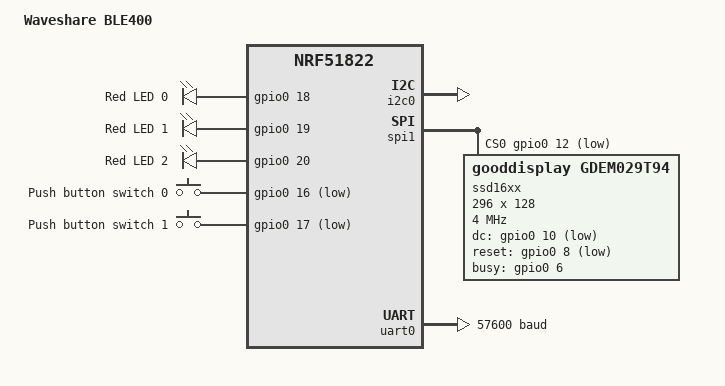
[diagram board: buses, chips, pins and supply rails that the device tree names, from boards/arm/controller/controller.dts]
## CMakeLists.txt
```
set(BOARD_ROOT ${CMAKE_CURRENT_SOURCE_DIR})
set(CMAKE_EXPORT_COMPILE_COMMANDS ON)

# ===== DO NOT REMOVE =====
cmake_minimum_required(VERSION 3.13.1)
find_package(Zephyr REQUIRED HINTS $ENV{ZEPHYR_BASE})
# ===== DO NOT REMOVE =====

project(controller-fw)

target_sources(app PRIVATE
	src/main.cpp
	src/uart.cpp
	src/bt.c
	src/display.cpp
	src/font.c
)
```

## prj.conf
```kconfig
CONFIG_DISPLAY=y

CONFIG_MULTITHREADING=y
CONFIG_UART_INTERRUPT_DRIVEN=y
CONFIG_UART_0_INTERRUPT_DRIVEN=y
CONFIG_CPLUSPLUS=y

CONFIG_BT=y
CONFIG_BT_CENTRAL=y
CONFIG_BT_GATT_CLIENT=y

CONFIG_MODBUS=y
CONFIG_MODBUS_ROLE_CLIENT=y
CONFIG_MODBUS_FP_EXTENSIONS=n

CONFIG_DEBUG_THREAD_INFO=y
CONFIG_EXTRA_EXCEPTION_INFO=y
```

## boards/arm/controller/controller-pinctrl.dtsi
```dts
/*
 * Copyright (c) 2022 Nordic Semiconductor
 * SPDX-License-Identifier: Apache-2.0
 */

&pinctrl {
	i2c0_default: i2c0_default {
		group1 {
			psels = <NRF_PSEL(TWIM_SDA, 0, 0)>,
				<NRF_PSEL(TWIM_SCL, 0, 1)>;
		};
	};

	i2c0_sleep: i2c0_sleep {
		group1 {
			psels = <NRF_PSEL(TWIM_SDA, 0, 0)>,
				<NRF_PSEL(TWIM_SCL, 0, 1)>;
			low-power-enable;
		};
	};

	spi1_default: spi1_default {
		group1 {
			psels = <NRF_PSEL(SPIM_SCK, 0, 14)>,
				<NRF_PSEL(SPIM_MOSI, 0, 16)>;
		};
	};

	spi1_sleep: spi1_sleep {
		group1 {
			psels = <NRF_PSEL(SPIM_SCK, 0, 14)>,
				<NRF_PSEL(SPIM_MOSI, 0, 16)>;
			low-power-enable;
		};
	};

	uart0_default: uart0_default {
		group1 {
			psels = <NRF_PSEL(UART_TX, 0, 21)>,
				<NRF_PSEL(UART_RX, 0, 22)>;
		};
	};

	uart0_sleep: uart0_sleep {
		group1 {
			psels = <NRF_PSEL(UART_TX, 0, 21)>,
				<NRF_PSEL(UART_RX, 0, 22)>;
			low-power-enable;
		};
	};

};
```

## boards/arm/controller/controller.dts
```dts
/*
 * Copyright (c) 2018 Roman Tataurov <diytronic@yandex.ru>
 *
 * SPDX-License-Identifier: Apache-2.0
 */

/dts-v1/;
#include <nordic/nrf51822_qfac.dtsi>
#include "controller-pinctrl.dtsi"

/ {
	model = "Waveshare BLE400";
	compatible = "waveshare,BLE400";

	chosen {
		zephyr,sram = &sram0;
		zephyr,flash = &flash0;
		zephyr,display = &ssd16xx;
	};

	/* These aliases are provided for compatibility with samples */
	aliases {
		led0 = &led0;
		led1 = &led1;
		led2 = &led2;
		sw0 = &button0;
		sw1 = &button1;
		watchdog0 = &wdt0;
	};

	leds {
		compatible = "gpio-leds";
		led0: led_0 {
			gpios = <&gpio0 18 0>;
			label = "Red LED 0";
		};
		led1: led_1 {
			gpios = <&gpio0 19 0>;
			label = "Red LED 1";
		};
		led2: led_2 {
			gpios = <&gpio0 20 0>;
			label = "Red LED 2";
		};
	};

	buttons {
		/* Push button switch 0 KEY1 */
		compatible = "gpio-keys";
		button0: button_0 {
			gpios = <&gpio0 16 (GPIO_PULL_UP | GPIO_ACTIVE_LOW)>;
			label = "Push button switch 0";
		};
		/* Push button switch 1 KEY2 */
		button1: button_1 {
			gpios = <&gpio0 17 (GPIO_PULL_UP | GPIO_ACTIVE_LOW)>;
			label = "Push button switch 1";
		};
	};
	barrot {
		compatible = "barrot_serial";
		btaddr = [82 72 95 83 15 00];

		modbus0 {
			compatible = "zephyr,modbus-serial";
			status = "okay";
	};

	};
};

&gpiote {
	status = "okay";
};

&gpio0 {
	status = "okay";
};

&i2c0 {
	status = "okay";
	/* smba-pin = <2>; */
	pinctrl-0 = <&i2c0_default>;
	pinctrl-1 = <&i2c0_sleep>;
	pinctrl-names = "default", "sleep";
};

&spi1 {
	compatible = "nordic,nrf-spi";
	status = "okay";
	cs-gpios = <&gpio0 12 GPIO_ACTIVE_LOW>;
	pinctrl-0 = <&spi1_default>;
	pinctrl-1 = <&spi1_sleep>;
	pinctrl-names = "default", "sleep";
	
	ssd16xx: ssd16xxfb@0 {
		compatible = "gooddisplay,GDEM029T94", "solomon,ssd1680";
		spi-max-frequency = <4000000>;
		reg = <0>;
		width = <296>;
		height = <128>;
		dc-gpios = <&gpio0 10 GPIO_ACTIVE_LOW>;
		reset-gpios = <&gpio0 8 GPIO_ACTIVE_LOW>;
		busy-gpios = <&gpio0 6 GPIO_ACTIVE_HIGH>;
		
		cntrl1-data = [00 80];
		otp-selection-ctl = [00 00 00 00 00 40 00 00 00 00];
		
		full {
			vcom = <0x36>;
			border-waveform = <0x80>;
			gdv = [17];
			sdv = [41 B0 32];
			lut = [
				80 66 00 00 00 00 00 00
				40 00 00 00 10 66 00 00
				00 00 00 00 20 00 00 00
				80 66 00 00 00 00 00 00
				40 00 00 00 10 66 00 00
				00 00 00 00 20 00 00 00
				00 00 00 00 00 00 00 00
				00 00 00 00 14 08 00 00
				00 00 01 0a 0a 00 0a 0a
				00 01 00 00 00 00 00 00
				00 00 00 00 00 00 00 00
				00 00 00 00 00 00 00 00
				00 00 00 00 00 00 00 00
				00 00 00 00 00 00 00 00
				00 00 00 00 14 08 00 01
				00 00 01 00 00 00 00 00
				00 01 00 00 00 00 00 00
				00 00 00 00 00 00 00 00
				44 44 44 44 44 44 00 00
				00
			];
		};
		
		partial {
			vcom = <0x36>;
			border-waveform = <0x80>;
			gdv = [17];
			sdv = [41 B0 32];

			lut = [
				00 40 00 00 00 00 00 00
				00 00 00 00 80 80 00 00
				00 00 00 00 00 00 00 00
				40 40 00 00 00 00 00 00
				00 00 00 00 00 80 00 00
				00 00 00 00 00 00 00 00
				00 00 00 00 00 00 00 00
				00 00 00 00 0a 00 00 00
				00 00 01 01 00 00 00 00
				00 00 01 00 00 00 00 00
				00 00 00 00 00 00 00 00
				00 00 00 00 00 00 00 00
				00 00 00 00 00 00 00 00
				00 00 00 00 00 00 00 00
				00 00 00 00 00 00 00 00
				00 00 00 00 00 00 00 00
				00 00 00 00 00 00 00 00
				00 00 00 00 00 00 00 00
				22 22 22 22 22 22 00 00
				00
			];
		};
		
	};
};

&uart0 {
	current-speed = <57600>;
	status = "okay";
	pinctrl-0 = <&uart0_default>;
	pinctrl-1 = <&uart0_sleep>;
	pinctrl-names = "default", "sleep";
};
```

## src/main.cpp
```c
#include <zephyr/zephyr.h>
#include <zephyr/device.h>
#include <zephyr/bluetooth/bluetooth.h>
#include <zephyr/modbus/modbus.h>
#include <zephyr/drivers/gpio.h>

#include "main_modules.hpp"
#include "printt.h"
#include "stdio.h"
#include "stdlib.h"

extern "C" void barrot_init();

struct Reg_data reg_data;

Display display;


int printt( const char *format, ...)
{
	va_list ap;

	int rc;

	va_start(ap, format);
	rc = tlay2.printvt(format,ap);
	va_end(ap);
	return rc;
}

const static struct modbus_iface_param client_param = {
	.mode = MODBUS_MODE_RTU,
	.rx_timeout = 750000,
	.serial = {
		.baud = 9600/25,
		.parity = UART_CFG_PARITY_NONE,
		.stop_bits_client = UART_CFG_STOP_BITS_2,
	},
};

#define MODBUS_NODE DT_COMPAT_GET_ANY_STATUS_OKAY(zephyr_modbus_serial)

int client_iface;

static int init_modbus_client(void)
{
	const char iface_name[] = {DEVICE_DT_NAME(MODBUS_NODE)};

	client_iface = modbus_iface_get_by_name(iface_name);

	return modbus_init_client(client_iface, client_param);
}

int d_print(int c)
{
	printt("%c",c);
	return 1;
}

void bt_enabled(int err)
{
	barrot_init();
}

#define DISPLAY_STACK_SIZE 1000
K_THREAD_STACK_DEFINE(display_stack_area, DISPLAY_STACK_SIZE);
struct k_thread display_thread_data;

void display_thread(void*,void*,void*)
{
	int spinner_idx=0;
	int spinner_data_idx=0;
	char spinner[] = "/-\\|";
	Reg_data::Data cached = {};
	while(true)
	{
		if(!k_sem_take(&reg_data.new_sample,K_NO_WAIT))
		{
			k_mutex_lock(&reg_data.mut, K_FOREVER);
			cached = reg_data.d;
			k_mutex_unlock(&reg_data.mut);
			spinner_data_idx++;
			if (!spinner[spinner_data_idx])
				spinner_data_idx=0;
		}
		{
			//auto l = display.lock();
			display.print_chr(0,0,spinner[spinner_idx++]);
			display.print_chr(8,0,spinner[spinner_data_idx]);
			display.print_str(32,0,cached.on ? " ON":"OFF");
			char buff[13];
			snprintf(buff,13,"Bat %6.2u%%",cached.b_soc);
			display.print_str(0,16,buff);
			snprintf(buff,13,"Bat %+.2d.%.2uV",cached.b_v/100,abs(cached.b_v%100));
			display.print_str(0,32,buff);
			snprintf(buff,13,"Bat %+.2d.%.2uA",cached.b_a/100,abs(cached.b_a%100));
			display.print_str(0,48,buff);
			snprintf(buff,13,"PV  %+.2d.%.2uV",cached.s_v/100,abs(cached.s_v%100));
			display.print_str(0,64,buff);
			snprintf(buff,13,"PV  %+.2d.%.2uA",cached.s_a/100,abs(cached.s_a%100));
			display.print_str(0,80,buff);
			snprintf(buff,13,"Out %+.2d.%.2uV",cached.l_v/100,abs(cached.l_v%100));
			display.print_str(0,96,buff);
			snprintf(buff,13,"Out %+.2d.%.2uA",cached.l_a/100,abs(cached.l_a%100));
			display.print_str(0,112,buff);

			display.update();
		}
		if (!spinner[spinner_idx])
			spinner_idx=0;
	}
}

void pb_expiry(struct k_timer *timer)
{
	atomic_set(&onoff,!atomic_get(&onoff));
}

K_TIMER_DEFINE(pb_timer, pb_expiry, NULL);

struct gpio_callback gpio_cb_str;

atomic_t onoff = ATOMIC_INIT(0);

void gpio_cb(const struct device *port, struct gpio_callback *cb, gpio_port_pins_t pins)
{
	printt("GPIO 0x%04x",pins);
	if(pins & (1<<24))
	{
		static uint64_t last_push = 0;
		enum class STATE{
			INIT,
			SECOND,
			THIRD,
		};
		static STATE state = STATE::INIT;
		uint64_t now = k_uptime_get();
		uint64_t diff = now - last_push;
		printt("GPIO pwrdown delta %lld",diff);

		switch(state)
		{
		case STATE::INIT:
		default:
			state = STATE::SECOND;
			break;
		case STATE::SECOND:
			if (diff<110 && diff>90)
				state = STATE::THIRD;
			else
				state = STATE::SECOND;
			break;
		case STATE::THIRD:
			if (diff<110 && diff>90)
			{
				state = STATE::SECOND;
				printt("Poweringoff");
				atomic_set(&onoff,0);
			}
			else
				state = STATE::SECOND;
		}
		last_push = now;
	}
	if(pins & (1<<25))
	{
		gpio_port_value_t rd;
		gpio_port_get(port,&rd);
		printt("aa %d",rd &(1<<25));
		if(rd &(1<<25))
		{
			k_timer_stop(&pb_timer);
		}
		else
		{
			if(atomic_get(&onoff))
			{
				printt("SHUTDOWN EVENT");
				k_timer_start(&pb_timer,K_SECONDS(5),K_NO_WAIT);
			}
			else
			{
				k_timer_start(&pb_timer,K_SECONDS(1),K_NO_WAIT);
			}
		}
	}
}

int main(void)
{
	k_mutex_init(&reg_data.mut);

	{
		const device * dev = DEVICE_DT_GET(DT_NODELABEL(gpio0));
		gpio_pin_configure(dev, 23, GPIO_OUTPUT);
		gpio_pin_set(dev, 23, 1);
		gpio_init_callback(&gpio_cb_str,gpio_cb,(1<<25)|(1<<24));
		gpio_add_callback(dev,&gpio_cb_str);
		gpio_pin_configure(dev, 24, GPIO_INPUT | GPIO_PULL_UP);
		gpio_pin_configure(dev, 25, GPIO_INPUT | GPIO_PULL_UP);
		gpio_pin_interrupt_configure(dev, 24, GPIO_INT_EDGE_BOTH);
		gpio_pin_interrupt_configure(dev, 25, GPIO_INT_EDGE_BOTH);

	}

	if(!tlay2.Init())
		return 1;

	tlay2.printt("Hello World! %s", CONFIG_BOARD);

	int err;

	err = display.Init();
	if(err)
		return err;

	err = bt_enable(bt_enabled);
	if (err) {
		return 1;
	}

	k_sem_init(&reg_data.new_sample, 0, 1);

	k_thread_create(&display_thread_data, display_stack_area,
	                                 K_THREAD_STACK_SIZEOF(display_stack_area),
	                                 display_thread,
	                                 NULL, NULL, NULL,
	                                 10, 0, K_NO_WAIT);
	if (init_modbus_client()) {
		tlay2.printt("Modbus RTU client initialization failed");
		return 1;
	}


	while(1)
	{
		uint16_t holding_reg[11];
		if(modbus_read_input_regs(client_iface, 1, 0x3045, holding_reg,
			       ARRAY_SIZE(holding_reg))!=0)
		{
			printt("Read fail1");
			continue;
		}

		uint16_t onoff_rd;
		if(modbus_read_input_regs(client_iface, 1, 0x3035, &onoff_rd,1)!=0)
		{
			printt("Read fail3");
			continue;
		}

		if((!!(onoff_rd&1)) != (!!atomic_get(&onoff))){
			modbus_write_coil(client_iface, 1, 0x0000, !!atomic_get(&onoff));
		}


		k_mutex_lock(&reg_data.mut, K_FOREVER);
		reg_data.d.b_soc = holding_reg[0];
		reg_data.d.b_v = holding_reg[1];
		reg_data.d.b_a = holding_reg[2];
		reg_data.d.l_v = holding_reg[5];
		reg_data.d.l_a = holding_reg[6];
		reg_data.d.s_v = holding_reg[9];
		reg_data.d.s_a = holding_reg[10];
		reg_data.d.on = (onoff_rd&1) == 1;
		k_mutex_unlock(&reg_data.mut);
		k_sem_give(&reg_data.new_sample);
		printt("Read ok");

		//k_msleep(1000);
	}

	return 0;
}
```

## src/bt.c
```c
/*
 * bt.cpp
 *
 *  Created on: Aug 16, 2022
 *      Author: kosa
 */
#define DT_DRV_COMPAT barrot_serial

#include <zephyr/kernel.h>
#include <zephyr/arch/cpu.h>
#include <zephyr/init.h>
#include <zephyr/device.h>
#include <zephyr/drivers/uart.h>
#include <zephyr/types.h>

#include <zephyr/bluetooth/bluetooth.h>
#include <zephyr/bluetooth/conn.h>
#include <zephyr/bluetooth/gatt.h>
#include <zephyr/sys/atomic.h>
#include <zephyr/sys/util.h>

#include "printt.h"


struct uart_barrot_device_config {
	bt_addr_t btaddr;
};

static const struct bt_uuid_16 ccc_uuid = BT_UUID_INIT_16(BT_UUID_GATT_CCC_VAL);

#define TX_TMP_BUFF_LEN 20

struct uart_barrot_data {
	uart_irq_callback_user_data_t irq_cb;
	void *irq_user_data;
	const struct device *dev;
	struct bt_conn *conn_connected;
	struct notifier_state {
		atomic_t state;
		struct bt_gatt_subscribe_params subscribe_params;
		struct bt_gatt_discover_params discover_params;
		struct bt_uuid_16 uuid;
		bt_gatt_notify_func_t notifier;
	}tx,rx;
	struct bt_gatt_discover_params tx_w_discover_params;
	uint16_t tx_w_handle;
	struct bt_uuid_16 tx_w_uuid;
	uint8_t initial_credit;
	uint8_t credit;
	const uint8_t* rxptr;
	uint8_t rxlen;
	struct k_mutex irq_mutex;
	uint8_t tx_tmp_buff[TX_TMP_BUFF_LEN];
	uint8_t tx_tmp_buff_cnt;
	bool tx_updated;
	struct bt_gatt_exchange_params mtu_exchange_params;
};

static struct uart_barrot_data uart_barrot_data_0 = {};

static const struct uart_barrot_device_config uart_barrot_dev_cfg_0 = {
	.btaddr	= {DT_INST_PROP(0, btaddr)},
};

static void run_tx()
{
	k_mutex_lock(&uart_barrot_data_0.irq_mutex, K_FOREVER);
	uart_barrot_data_0.tx_tmp_buff_cnt = 0;

	do
	{
		uart_barrot_data_0.tx_updated=0;
		uart_barrot_data_0.irq_cb(uart_barrot_data_0.dev,
			uart_barrot_data_0.irq_user_data);
	}while(uart_barrot_data_0.tx_updated);

	struct bt_conn *conn = NULL;

	struct bt_conn *conn_cache = uart_barrot_data_0.conn_connected;

	if (conn_cache) {
		/* Get a connection reference to ensure that a
		 * reference is maintained in case disconnected
		 * callback is called while we perform GATT Write
		 * command.
		 */
		conn = bt_conn_ref(conn_cache);
	}

	if (conn) {
		if(uart_barrot_data_0.tx_tmp_buff_cnt){
			uart_barrot_data_0.credit -= 1;
			bt_gatt_write_without_response(conn,uart_barrot_data_0.tx_w_handle,
				uart_barrot_data_0.tx_tmp_buff,
				uart_barrot_data_0.tx_tmp_buff_cnt,
				false);
			//printt("TXING %d",uart_barrot_data_0.tx_tmp_buff_cnt);
		}
		bt_conn_unref(conn);
	}
	uart_barrot_data_0.tx_tmp_buff_cnt = 0;
	k_mutex_unlock(&uart_barrot_data_0.irq_mutex);
	return;
}

static void device_found(const bt_addr_le_t *addr, int8_t rssi, uint8_t type,
			 struct net_buf_simple *ad)
{

	char dev[BT_ADDR_LE_STR_LEN];

	bt_addr_le_to_str(addr, dev, sizeof(dev));
	printt("[DEVICE]: %s, AD evt type %u, AD data len %u, RSSI %i",
	       dev, type, ad->len, rssi);

	/* We're only interested in connectable events */
	if (type != BT_GAP_ADV_TYPE_ADV_IND &&
	    type != BT_GAP_ADV_TYPE_ADV_DIRECT_IND) {
		return;
	}

	/* connect only to devices in close proximity */
	/*if (rssi < -70) {
		return;
	}*/
	bt_addr_le_t target_mac = {};
	target_mac.type = BT_ADDR_LE_PUBLIC;
	target_mac.a =  uart_barrot_dev_cfg_0.btaddr;
	if(memcmp(&target_mac,addr,sizeof(bt_addr_le_t))!=0)
		return;

	int err;

	err = bt_le_scan_stop();
	if (err) {
		printt("%s: Stop LE scan failed (err %d)\n", __func__, err);
		return;
	}

	struct bt_conn *conn;

	err = bt_conn_le_create(addr, BT_CONN_LE_CREATE_CONN,
				BT_LE_CONN_PARAM_DEFAULT, &conn);
	if (err) {
		bt_le_scan_start(BT_LE_SCAN_ACTIVE, device_found);
	} else {
		bt_conn_unref(conn);
	}

}


static uint8_t notify_tx_func(struct bt_conn *conn,
		   struct bt_gatt_subscribe_params *params,
		   const void *data, uint16_t length)
{
	struct notifier_state *state = CONTAINER_OF(params,struct notifier_state,subscribe_params);
	if (!data) {
		printt("[UNSUBSCRIBED] %u", params->ccc_handle);
		atomic_clear_bit(&state->state,0);
		params->value_handle = 0U;
		return BT_GATT_ITER_STOP;
	}

	//printt("[NOTIFICATION_TX] data %p length %u", data, length);

	struct uart_barrot_data *uart_data = CONTAINER_OF(state,struct uart_barrot_data,tx);

	uint8_t * d = (uint8_t *)data;

	if(length == 2 && d[0] == 0x01)
	{
		if(!uart_data->initial_credit)
		{
			uart_data->initial_credit = d[1];
			uart_data->credit = d[1];
		}
		else
			uart_data->credit += d[1];
		//printt("New credit %d",uart_data->credit);
	}
	if(uart_data->credit)
	{
		run_tx();
	}

	return BT_GATT_ITER_CONTINUE;
}

static uint8_t notify_rx_func(struct bt_conn *conn,
		   struct bt_gatt_subscribe_params *params,
		   const void *data, uint16_t length)
{
	struct notifier_state *state = CONTAINER_OF(params,struct notifier_state,subscribe_params);
	if (!data) {
		printt("[UNSUBSCRIBED] %u", params->ccc_handle);
		atomic_clear_bit(&state->state,0);
		params->value_handle = 0U;
		params->ccc_handle = 0;
		return BT_GATT_ITER_STOP;
	}

	//printt("[NOTIFICATION_RX] data %p length %u", data, length);
	//uint8_t *d = (uint8_t*)data;
	//printt("%02x %02x %02x %02x %02x %02x %02x %02x",
	//		d[0], d[1], d[2], d[3], d[4], d[5], d[6], d[7]);

	struct uart_barrot_data *uart_data = CONTAINER_OF(state,struct uart_barrot_data,rx);
	k_mutex_lock(&uart_data->irq_mutex, K_FOREVER);
	uart_data->rxptr = data;
	uart_data->rxlen = length;
	uart_barrot_data_0.irq_cb(uart_data->dev,uart_data->irq_user_data);
	uart_data->rxptr = NULL;
	k_mutex_unlock(&uart_data->irq_mutex);


	return BT_GATT_ITER_CONTINUE;
}

static uint8_t discover_func(struct bt_conn *conn,
			     const struct bt_gatt_attr *attr,
			     struct bt_gatt_discover_params *params)
{

	struct notifier_state *state = CONTAINER_OF(params,struct notifier_state,discover_params);
	int err;

	if (!attr) {
		printt("Discover complete\n");
		(void)memset(params, 0, sizeof(*params));
		return BT_GATT_ITER_STOP;
	}

	printt("[ATTRIBUTE] handle %u\n", attr->handle);
	printt("[ATTRIBUTE] perm %u\n", attr->perm);
	printt("[PARMMS] type %u\n", params->type);

	if(params->type == BT_GATT_DISCOVER_CHARACTERISTIC)
	{
		params->uuid = &ccc_uuid.uuid;
		params->start_handle = attr->handle + 2;
		params->type = BT_GATT_DISCOVER_DESCRIPTOR;
		state->subscribe_params.value_handle = bt_gatt_attr_value_handle(attr);
		err = bt_gatt_discover(conn, params);
		if (err) {
			printt("Discover failed (err %d)\n", err);
		}
	}
	else
	{
		state->subscribe_params.value = BT_GATT_CCC_NOTIFY;
		state->subscribe_params.ccc_handle = attr->handle;
		state->subscribe_params.notify = state->notifier;
		err = bt_gatt_subscribe(conn, &state->subscribe_params);

		if (err && err != -EALREADY) {
			printt("Subscribe failed (err %d)\n", err);
		} else {
			printt("[SUBSCRIBED]\n");
		}

	}


	return BT_GATT_ITER_STOP;
}

static uint8_t discover_tx_w_func(struct bt_conn *conn,
			     const struct bt_gatt_attr *attr,
			     struct bt_gatt_discover_params *params)
{

	struct uart_barrot_data *data = CONTAINER_OF(params,struct uart_barrot_data,tx_w_discover_params);

	if (!attr) {
		printt("Discover complete\n");
		(void)memset(params, 0, sizeof(*params));
		return BT_GATT_ITER_STOP;
	}

	printt("[ATTRIBUTE] handle %u\n", attr->handle);
	printt("[ATTRIBUTE] perm %u\n", attr->perm);
	printt("[PARMMS] type %u\n", params->type);

	data->tx_w_handle = bt_gatt_attr_value_handle(attr);

	return BT_GATT_ITER_STOP;

}


static void discoverer_start(struct bt_conn *conn, struct notifier_state * state)
{
	state->discover_params.uuid = &state->uuid.uuid;

	state->discover_params.func = discover_func;
	state->discover_params.start_handle = BT_ATT_FIRST_ATTRIBUTE_HANDLE;
	state->discover_params.end_handle = BT_ATT_LAST_ATTRIBUTE_HANDLE;
	state->discover_params.type = BT_GATT_DISCOVER_CHARACTERISTIC;

	int err = bt_gatt_discover(conn, &state->discover_params);
	if (err) {
		printt("Discover failed(err %d)\n", err);
		return;
	}
}

static void mtu_exchange_cb(struct bt_conn *conn, uint8_t err,
			    struct bt_gatt_exchange_params *params)
{
	printt("%s: MTU exchange %s (%u)\n", __func__,
	       err == 0U ? "successful" : "failed",
	       bt_gatt_get_mtu(conn));

	struct uart_barrot_data *data = CONTAINER_OF(params,struct uart_barrot_data,mtu_exchange_params);
	discoverer_start(conn, &data->rx);
	discoverer_start(conn, &data->tx);
	data->tx_w_discover_params.uuid = &data->tx_w_uuid.uuid;
	data->tx_w_discover_params.func = discover_tx_w_func;
	data->tx_w_discover_params.start_handle = BT_ATT_FIRST_ATTRIBUTE_HANDLE;
	data->tx_w_discover_params.end_handle = BT_ATT_LAST_ATTRIBUTE_HANDLE;
	data->tx_w_discover_params.type = BT_GATT_DISCOVER_CHARACTERISTIC;
	int err2 = bt_gatt_discover(conn, &data->tx_w_discover_params);
	if (err2) {
		printt("Discover failed(err %d)\n", err);
		return;
	}
}

static void connected(struct bt_conn *conn, uint8_t conn_err)
{
	struct bt_conn_info conn_info;
	int err;

	if (conn_err) {
		return;
	}

	uart_barrot_data_0.conn_connected = bt_conn_ref(conn);

	err = bt_conn_get_info(conn, &conn_info);
	if (err) {
		return;
	}

	printt("%s: Current MTU = %u\n", __func__, bt_gatt_get_mtu(conn));

	uart_barrot_data_0.mtu_exchange_params.func = mtu_exchange_cb;

	printt("%s: Exchange MTU...\n", __func__);
	err = bt_gatt_exchange_mtu(conn, &uart_barrot_data_0.mtu_exchange_params);
	if (err) {
		printt("%s: MTU exchange failed (err %d)", __func__, err);
	}

}

static void disconnected(struct bt_conn *conn, uint8_t reason)
{
	struct bt_conn_info conn_info;
	int err;

	err = bt_conn_get_info(conn, &conn_info);
	if (err) {
		return;
	}

	uart_barrot_data_0.conn_connected = NULL;

	bt_conn_unref(conn);

	uart_barrot_data_0.credit = 0;
	uart_barrot_data_0.tx_w_handle = 0;
	atomic_clear_bit(&uart_barrot_data_0.tx.state,0);
	atomic_clear_bit(&uart_barrot_data_0.rx.state,0);

	if (conn_info.role == BT_CONN_ROLE_CENTRAL) {
		bt_le_scan_start(BT_LE_SCAN_ACTIVE, device_found);
	}
}

BT_CONN_CB_DEFINE(conn_callbacks) = {
	.connected = connected,
	.disconnected = disconnected,
};


void barrot_init()
{
	bt_le_scan_start(BT_LE_SCAN_ACTIVE, device_found);
	return;
}

static int barrot_configure(const struct device *dev,
		 const struct uart_config *cfg)
{
	return 0;
}

static void barrot_irq_tx_enable(const struct device *dev)
{
	atomic_set_bit(&uart_barrot_data_0.tx.state,0);
	run_tx();
}

static void barrot_irq_tx_disable(const struct device *dev)
{
	atomic_clear_bit(&uart_barrot_data_0.tx.state,0);
}

static void barrot_irq_rx_enable(const struct device *dev)
{
	atomic_set_bit(&uart_barrot_data_0.rx.state,0);
}

static void barrot_irq_rx_disable(const struct device *dev)
{
	atomic_clear_bit(&uart_barrot_data_0.rx.state,0);
}

static void barrot_irq_callback_set(const struct device *dev,
			 uart_irq_callback_user_data_t cb,
			 void *user_data)
{
	struct uart_barrot_data *data;

	data = dev->data;
	data->irq_cb = cb;
	data->irq_user_data = user_data;
}

static int barrot_fifo_fill(const struct device *dev,
				   const uint8_t *tx_data, int size)
{
	if(!uart_barrot_data_0.tx_w_handle)
	{
		return 0;
	}

	if(!uart_barrot_data_0.tx.subscribe_params.ccc_handle)
	{
		return 0;
	}

	uint8_t i = MIN(size,
			TX_TMP_BUFF_LEN-uart_barrot_data_0.tx_tmp_buff_cnt);

	memcpy(&uart_barrot_data_0.tx_tmp_buff[uart_barrot_data_0.tx_tmp_buff_cnt],
			tx_data,i);
	uart_barrot_data_0.tx_tmp_buff_cnt+=i;
	uart_barrot_data_0.tx_updated = 1;
	return i;
}

static int barrot_fifo_read(const struct device *dev,
				   uint8_t *rx_data, const int size)
{
	int i=0;

	if (!uart_barrot_data_0.rxptr)
	{
		return 0;
	}


	while(i<size && uart_barrot_data_0.rxlen)
	{
		rx_data[i++] = *(uart_barrot_data_0.rxptr++);
		uart_barrot_data_0.rxlen--;
	}
	return i;
}

static int barrot_irq_tx_ready(const struct device *dev)
{
	return 	atomic_test_bit(&uart_barrot_data_0.tx.state,0) &&
			(uart_barrot_data_0.tx_w_handle) &&
			(uart_barrot_data_0.tx.subscribe_params.ccc_handle) &&
			(TX_TMP_BUFF_LEN > uart_barrot_data_0.tx_tmp_buff_cnt);
}

static int barrot_irq_rx_ready(const struct device *dev)
{
	return atomic_test_bit(&uart_barrot_data_0.rx.state,0) &&
			(uart_barrot_data_0.rxptr) &&
			(uart_barrot_data_0.rxlen);
}

int barrot_irq_tx_complete(const struct device *dev)
{
	return 1;
}


static int barrot_irq_is_pending(const struct device *dev)
{
	return 1;

}

static int barrot_irq_update(const struct device *dev)
{
	return 1;
}

static const struct uart_driver_api uart_barrot_driver_api = {
		.configure = barrot_configure,
		.fifo_fill		= barrot_fifo_fill,
		.fifo_read		= barrot_fifo_read,
		.irq_tx_enable		= barrot_irq_tx_enable,
		.irq_tx_disable		= barrot_irq_tx_disable,
		.irq_tx_ready		= barrot_irq_tx_ready,
		.irq_rx_enable		= barrot_irq_rx_enable,
		.irq_rx_disable		= barrot_irq_rx_disable,
		.irq_tx_complete	= barrot_irq_tx_complete,
		.irq_rx_ready		= barrot_irq_rx_ready,
		.irq_is_pending		= barrot_irq_is_pending,
		.irq_update		= barrot_irq_update,

		.irq_callback_set = barrot_irq_callback_set,
};


static int uart_barrot_init(const struct device *dev)
{
	struct uart_barrot_data *data;

	data = dev->data;
	data->dev = dev;
	struct bt_uuid_16 txuuid = BT_UUID_INIT_16(0xff03);
	data->tx.uuid = txuuid;
	data->tx.notifier = notify_tx_func;
	struct bt_uuid_16 txwuuid = BT_UUID_INIT_16(0xff02);
	data->tx_w_uuid = txwuuid;
	struct bt_uuid_16 rxuuid = BT_UUID_INIT_16(0xff01);
	data->rx.uuid = rxuuid;
	data->rx.notifier = notify_rx_func;
	k_mutex_init(&data->irq_mutex);
	return 0;

}
DEVICE_DT_INST_DEFINE(0,
		uart_barrot_init,
		NULL,
		&uart_barrot_data_0, &uart_barrot_dev_cfg_0,
		PRE_KERNEL_1, CONFIG_SERIAL_INIT_PRIORITY,
		(void *)&uart_barrot_driver_api);
```

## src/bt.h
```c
/*
 * bt.hpp
 *
 *  Created on: Aug 16, 2022
 *      Author: kosa
 */

#ifndef BT_HPP_
#define BT_HPP_

#include <stdbool.h>

#ifdef __cplusplus
extern "C" {
#endif

bool bt_init();

#ifdef __cplusplus
}
#endif

#endif /* BT_HPP_ */
```

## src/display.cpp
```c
/*
 * display.cpp
 *
 *  Created on: Aug 21, 2022
 *      Author: kosa
 */

#include <zephyr/drivers/display.h>

#include "display.hpp"
#include "printt.h"
#include "font.h"
#include <string.h>

int Display::Init()
{
	k_mutex_init(&mut);
	dev = DEVICE_DT_GET(DT_CHOSEN(zephyr_display));
	if (!device_is_ready(dev)) {
		printt("Device %s not ready", dev->name);
		return 1;
	}

	if (display_set_pixel_format(dev, PIXEL_FORMAT_MONO10) != 0) {
		printt("Failed to set required pixel format");
		return 1;
	}

	memset(buff,0xff,sizeof(buff));

	printt("Initialized %s", dev->name);
	return 0;
}

void Display::update()
{
	display_blanking_off(dev);
	struct display_buffer_descriptor desc={
			.buf_size=128*296/8,
			.width=296,
			.height=128,
			.pitch=296
	};
	display_write(dev,0,0,&desc,buff);
}


void Display::print_chr(int x, int y, char c)
{
	int idx;
	for(idx=0;my_font_map_[idx];idx++)
	{
		if(my_font_map_[idx] == c)
			break;
	}
	if(!my_font_map_[idx])
		idx=0;
	for(int yp=0;yp<16;yp++)
	{
		buff[296/8*8*((yp+y)>>3)+(yp+y)%8+x] = my_font_[idx][yp];
	}
}

void Display::print_str(int x, int y, const char* str)
{
	while(*str)
	{
		print_chr(x,y,*str++);
		x+=8;
	}
}
```

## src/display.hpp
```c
/*
 * display.hpp
 *
 *  Created on: Aug 21, 2022
 *      Author: kosa
 */

#ifndef DISPLAY_HPP_
#define DISPLAY_HPP_

#include <zephyr/zephyr.h>

class Display {
	const struct device *dev;
	k_mutex mut;
public:
	uint8_t buff[128*296/8];
	class Display_lock
	{
		k_mutex *m;
	public:
		Display_lock(k_mutex *_m)
		: m(_m)
		{
			k_mutex_lock(m, K_FOREVER);
		}
		~Display_lock()
		{
			k_mutex_unlock(m);
		}
	};
	int Init();
	Display_lock lock()
	{
		return Display_lock(&mut);
	}
	void update();
	void print_chr(int x, int y, char c);
	void print_str(int x, int y, const char* str);
};






#endif /* DISPLAY_HPP_ */
```

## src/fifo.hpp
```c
#ifndef FIFO_DEF_H_
#define FIFO_DEF_H_

#include <stdint.h>

#include <zephyr/sys/atomic.h>
#include <zephyr/irq.h>


template<size_t LEN,typename CNT=unsigned char>
class FIFO{
	CNT data[LEN];
	CNT* const data_end;
	atomic_ptr_t wrptr;
	atomic_ptr_t rdptr;
public:
	FIFO() : data(), data_end(&data[LEN]), wrptr(data), rdptr(data){};
	void clear()
	{
		atomic_ptr_set(&wrptr, data);
		atomic_ptr_set(&rdptr, data);
	}
	inline intptr_t put(CNT val)
	{
		volatile CNT *tmwr = (volatile CNT *)atomic_ptr_get(&wrptr);
		volatile CNT *tmrd = (volatile CNT *)atomic_ptr_get(&rdptr);

		tmwr += 1;
		if(tmwr == data_end)
			tmwr = data;
		if (tmwr == tmrd)
				return 0;
		*tmwr = val;
		atomic_ptr_set(&wrptr,(void*)tmwr);
		return 1;

	}
	inline intptr_t get(CNT* val)
	{
		volatile CNT *tmwr = (volatile CNT *)atomic_ptr_get(&wrptr);
		volatile CNT *tmrd = (volatile CNT *)atomic_ptr_get(&rdptr);
		if (tmwr == tmrd)
			return 0;
		tmrd += 1;
		if(tmrd == data_end)
			tmrd = data;
		*val = *tmrd;
		atomic_ptr_set(&rdptr,(void*)tmrd);
		return 1;
	}
	inline intptr_t check()
	{
		volatile CNT *tmwr = (volatile CNT *)atomic_ptr_get(&wrptr);
		volatile CNT *tmrd = (volatile CNT *)atomic_ptr_get(&rdptr);
		int ret = (tmwr - tmrd);
		if (ret < 0) ret +=LEN;
		return ret;
	}
};

#endif /* FIFO_H_ */
```

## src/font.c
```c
/*autogenerated file*/
unsigned char my_font_[][16] =
{
 {
    0xe7,0xc7,
    0xdf,0xdc,
    0xd8,0xc3,
    0xe7,0xff,
    0xff,0xff,
    0xff,0x4f,
    0x4f,0xff,
    0xff,0xff,
 },
 {
    0xff,0xff,
    0xff,0xff,
    0xff,0xff,
    0xff,0xff,
    0xff,0xff,
    0xff,0xff,
    0xff,0xff,
    0xff,0xff,
 },
 {
    0xf3,0xf3,
    0xff,0xfe,
    0xfc,0xf9,
    0xf3,0xff,
    0xcf,0x9f,
    0x3f,0x7f,
    0xff,0xcf,
    0xcf,0xff,
 },
 {
    0xff,0xfe,
    0xfe,0xf8,
    0xf8,0xfe,
    0xfe,0xff,
    0xff,0xff,
    0xff,0x3f,
    0x3f,0xff,
    0xff,0xff,
 },
 {
    0xfe,0xfe,
    0xfe,0xfe,
    0xfe,0xfe,
    0xfe,0xff,
    0xff,0xff,
    0xff,0xff,
    0xff,0xff,
    0xff,0xff,
 },
 {
    0xff,0xff,
    0xff,0xff,
    0xff,0xff,
    0xff,0xff,
    0xff,0xff,
    0xff,0xcf,
    0xcf,0xff,
    0xff,0xff,
 },
 {
    0xff,0xff,
    0xff,0xfe,
    0xfc,0xf9,
    0xf3,0xff,
    0xcf,0x9f,
    0x3f,0x7f,
    0xff,0xff,
    0xff,0xff,
 },
 {
    0xf0,0xe0,
    0xcf,0xdc,
    0xcf,0xe0,
    0xf0,0xff,
    0x3f,0x1f,
    0xcf,0xef,
    0xcf,0x1f,
    0x3f,0xff,
 },
 {
    0xff,0xf7,
    0xe7,0xc0,
    0xc0,0xff,
    0xff,0xff,
    0xff,0xef,
    0xef,0x0f,
    0x0f,0xef,
    0xef,0xff,
 },
 {
    0xef,0xcf,
    0xde,0xdc,
    0xd9,0xc3,
    0xe7,0xff,
    0x8f,0x0f,
    0x6f,0xef,
    0xef,0xcf,
    0xcf,0xff,
 },
 {
    0xef,0xcf,
    0xdd,0xdd,
    0xdd,0xc0,
    0xe2,0xff,
    0xdf,0xcf,
    0xef,0xef,
    0xef,0x0f,
    0x1f,0xff,
 },
 {
    0xfc,0xf8,
    0xf2,0xe6,
    0xc0,0xc0,
    0xfe,0xff,
    0xff,0xff,
    0xff,0xef,
    0x0f,0x0f,
    0xef,0xff,
 },
 {
    0xc1,0xc1,
    0xdd,0xdd,
    0xdd,0xdc,
    0xde,0xff,
    0xdf,0xcf,
    0xef,0xef,
    0xef,0x0f,
    0x1f,0xff,
 },
 {
    0xf0,0xe0,
    0xcd,0xdd,
    0xdd,0xfc,
    0xfe,0xff,
    0x1f,0x0f,
    0xef,0xef,
    0xef,0x0f,
    0x1f,0xff,
 },
 {
    0xcf,0xcf,
    0xdf,0xde,
    0xdc,0xc1,
    0xc3,0xff,
    0xff,0xff,
    0x0f,0x0f,
    0xff,0xff,
    0xff,0xff,
 },
 {
    0xe2,0xc0,
    0xdd,0xdd,
    0xdd,0xc0,
    0xe2,0xff,
    0x1f,0x0f,
    0xef,0xef,
    0xef,0x0f,
    0x1f,0xff,
 },
 {
    0xe3,0xc1,
    0xdd,0xdd,
    0xdd,0xc0,
    0xe0,0xff,
    0xff,0xef,
    0xef,0xef,
    0xcf,0x1f,
    0x3f,0xff,
 },
 {
    0xf8,0xf0,
    0xe6,0xce,
    0xe6,0xf0,
    0xf8,0xff,
    0x0f,0x0f,
    0xff,0xff,
    0xff,0x0f,
    0x0f,0xff,
 },
 {
    0xdf,0xc0,
    0xc0,0xdd,
    0xdd,0xc0,
    0xe2,0xff,
    0xef,0x0f,
    0x0f,0xef,
    0xef,0x0f,
    0x1f,0xff,
 },
 {
    0xdf,0xc0,
    0xc0,0xdd,
    0xd8,0xcf,
    0xc7,0xff,
    0xef,0x0f,
    0x0f,0xef,
    0xff,0xff,
    0xff,0xff,
 },
 {
    0xc0,0xc0,
    0xe3,0xf1,
    0xf8,0xc0,
    0xc0,0xff,
    0x0f,0x0f,
    0xff,0xff,
    0xff,0x0f,
    0x0f,0xff,
 },
 {
    0xe0,0xc0,
    0xdf,0xdf,
    0xdf,0xc0,
    0xe0,0xff,
    0x1f,0x0f,
    0xef,0xef,
    0xef,0x0f,
    0x1f,0xff,
 },
 {
    0xdf,0xc0,
    0xc0,0xdd,
    0xdd,0xc1,
    0xe3,0xff,
    0xef,0x0f,
    0x0f,0xef,
    0xff,0xff,
    0xff,0xff,
 },
 {
    0xc0,0xc0,
    0xff,0xff,
    0xff,0xc0,
    0xc0,0xff,
    0x7f,0x3f,
    0x9f,0xcf,
    0x9f,0x3f,
    0x7f,0xff,
 },
 {
    0xe3,0xf1,
    0xf8,0xfc,
    0xfe,0xff,
    0xff,0xff,
    0xff,0xff,
    0xff,0x7f,
    0x3f,0x1f,
    0x8f,0xff,
 },
 {
    0xff,0xfa,
    0xfa,0xfa,
    0xf8,0xfc,
    0xff,0xff,
    0x1f,0x0f,
    0xef,0xef,
    0x1f,0x0f,
    0xef,0xff,
 },
 {
    0xfb,0xfb,
    0xe0,0xc0,
    0xfb,0xfb,
    0xff,0xff,
    0xff,0xff,
    0x1f,0x0f,
    0xef,0xcf,
    0xdf,0xff,
 },
 {
    0xf8,0xf8,
    0xff,0xff,
    0xf8,0xf8,
    0xff,0xff,
    0x1f,0x0f,
    0xef,0xef,
    0x1f,0x0f,
    0xef,0xff,
 },
 {
    0xff,0xff,
    0xff,0xc2,
    0xc2,0xff,
    0xff,0xff,
    0xff,0xff,
    0xff,0x0f,
    0x0f,0xff,
    0xff,0xff,
 },
};
char my_font_map_[]=
{
   '?',
   ' ',
   '%',
   '+',
   '-',
   '.',
   '/',
   '0',
   '1',
   '2',
   '3',
   '4',
   '5',
   '6',
   '7',
   '8',
   '9',
   'A',
   'B',
   'F',
   'N',
   'O',
   'P',
   'V',
   '\\',
   'a',
   't',
   'u',
   '|',
   '\0',
};
```

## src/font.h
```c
/*autogenerated file*/
#ifndef FONT_H
#define FONT_H
extern unsigned char my_font_[][16] ;
extern char my_font_map_[];
#endif
```

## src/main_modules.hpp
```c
/*
 * main_modules.hpp
 *
 *  Created on: Aug 16, 2022
 *      Author: kosa
 */

#ifndef MAIN_MODULES_HPP_
#define MAIN_MODULES_HPP_

#include "tlay2.hpp"
#include "display.hpp"

#include <stdint.h>
#include <zephyr/kernel.h>
#include <zephyr/sys/atomic.h>

struct Reg_data {
	struct Data {
	uint16_t b_soc;
	uint16_t b_v;
	int16_t  b_a;
	uint16_t l_v;
	uint16_t l_a;
	uint16_t s_v;
	uint16_t s_a;
	bool on;
	} d;
	k_mutex mut;
	k_sem new_sample;
};

extern struct Reg_data reg_data;

extern int client_iface;

extern Tlay2<128> tlay2;

extern Display display;

extern int client_iface;

extern atomic_t onoff;

#endif /* MAIN_MODULES_HPP_ */
```

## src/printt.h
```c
/*
 * printt.h
 *
 *  Created on: Aug 18, 2022
 *      Author: kosa
 */

#ifndef PRINTT_H_
#define PRINTT_H_

#ifdef __cplusplus
extern "C" {
#endif

int printt( const char *format, ...);

#ifdef __cplusplus
}
#endif


#endif /* PRINTT_H_ */
```

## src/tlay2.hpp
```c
#ifndef TLAY2_TLAY2_H
#define TLAY2_TLAY2_H

#include <stdint.h>
#include <zephyr/zephyr.h>
#include <zephyr/sys/crc.h>
#include <zephyr/sys/cbprintf.h>

#include "uart.hpp"


template<int MAX_PKT_SIZE>
class Tlay2
{
private:
	struct k_mutex tx_mutex;
	struct k_thread rx_thread;
	struct k_sem rx_sem_wait;
	struct k_sem tx_sem_wait;
	k_thread_stack_t *rx_stack;
	size_t rx_stack_size;
	typedef void (*process_packet_t)(Tlay2<MAX_PKT_SIZE>* obj, uint8_t*data,size_t len);
	UART<MAX_PKT_SIZE+10,MAX_PKT_SIZE+10> uart;
	process_packet_t process_packet;

	uint8_t tlay2_rx_buf[MAX_PKT_SIZE];
	uint8_t tlay2_rx_len;
	uint8_t tlay2_tx_crc;

	static bool rx_isr_c(void* user_data, uint8_t *byte)
	{
		Tlay2<MAX_PKT_SIZE> *obj=static_cast<Tlay2<MAX_PKT_SIZE>*>(user_data);
		return obj->rx_isr(byte);
	}
	bool rx_isr(uint8_t* byte)
	{
		if(*byte == '\n')
			k_sem_give(&rx_sem_wait);
		return true;
	}
	static void rx_thread_c(void* user_data, void* arg2, void* arg3)
	{
		Tlay2<MAX_PKT_SIZE> *obj=static_cast<Tlay2<MAX_PKT_SIZE>*>(user_data);
		obj->rx_thread_fn();
	}
	void rx_thread_fn()
	{
		while(true)
		{
			k_sem_take(&rx_sem_wait,K_FOREVER);
			retry:
			tlay2_rx_len=0;
			uint8_t c;
			do {
				uart.get(&c);
				if (c == '\n')
					break;
				if (c == 0xdc)
				{
					uart.get(&c);
					c ^= 0x80;
				}
				tlay2_rx_buf[tlay2_rx_len++]=c;
			}while(tlay2_rx_len < MAX_PKT_SIZE);
			tlay2_rx_len-=1;
			if(c != '\n')
				goto retry;
			if (tlay2_rx_len < 2)
				continue;
			if (crc8_ccitt(0x00,tlay2_rx_buf,tlay2_rx_len+1) != 0)
				continue;
			if(process_packet)
				process_packet(this,tlay2_rx_buf,tlay2_rx_len);
		}
	}
public:
	Tlay2(
			const struct device *_dev,
			k_thread_stack_t *_rx_stack,
			size_t _rx_stack_size,
			process_packet_t _process_packet=NULL)

	:rx_stack(_rx_stack),
	 rx_stack_size(_rx_stack_size),
	 uart(_dev,rx_isr_c,this),
	 process_packet(_process_packet)
	{
		k_mutex_init(&tx_mutex);
		k_sem_init(&rx_sem_wait, 0, MAX_PKT_SIZE);
		k_sem_init(&tx_sem_wait, 1, 1);
	}
	bool Init()
	{
		bool ret;

		ret = uart.Init();
		if(!ret)
			return ret;
		k_tid_t tid = k_thread_create(&rx_thread,rx_stack, rx_stack_size,rx_thread_c,this,NULL,NULL,5,0,K_NO_WAIT);
		k_thread_name_set(tid,"Tlay2");
		return true;
	}

	void tx_init_reply()
	{
		k_sem_take(&tx_sem_wait,K_FOREVER);
		tlay2_tx_crc=0x00;
		tx_byte(tlay2_rx_buf[0]); //remote channel
		tx_byte(tlay2_rx_buf[1]); //local function
	}
	void tx_init(uint8_t channel, uint8_t function)
	{
		k_sem_take(&tx_sem_wait,K_FOREVER);
		tlay2_tx_crc=0x00;
		tx_byte(channel); // remote channel
		tx_byte(function); // local function
	}
	void tx_end()
	{
		tx_byte(tlay2_tx_crc);
		uart.send('\n');
		k_sem_give(&tx_sem_wait);
	}
	void tx_byte(uint8_t byte)
	{
		tlay2_tx_crc=crc8_ccitt(tlay2_tx_crc,&byte,1);
		if (byte == '\n' || byte == 0xdc)
		{
			uart.send(0xdc);
			byte ^=0x80;
		}
		uart.send(byte);
	}
	void tx_u16(uint16_t byte)
	{
		tx_byte(byte&0xff);
		tx_byte(byte >> 8);
	}

	void tx_u32(uint32_t byte)
	{
		tx_byte(byte&0xff);
		tx_byte((byte >> 8)&0xff);
		tx_byte((byte >> 16)&0xff);
		tx_byte((byte >> 24)&0xff);
	}
	uint16_t rx_u16(uint8_t * buff)
	{
		return ((uint16_t)buff[1] << 8) | buff[0];
	}

	uint32_t rx_u32(uint8_t * buff)
	{
		return ((uint32_t)buff[3] << 24) | ((uint32_t)buff[2] << 16) | ((uint32_t)buff[1] << 8) | buff[0];

	}
	static int cwrap_tx_byte(int c, void *ctx)
	{
		if(ctx == NULL)
			return -1;
		uint8_t cr=c;
		static_cast<Tlay2<MAX_PKT_SIZE>*>(ctx)->tx_byte(cr);
		return cr;
	}

	int printvt(const char *format, va_list ap)
	{
		int rc;

		tx_init(0,0);
		rc = cbvprintf((cbprintf_cb)cwrap_tx_byte, this, format, ap);
		tx_end();
		return rc;
	}

	int printt( const char *format, ...)
	{
		va_list ap;
		int rc;

		va_start(ap, format);
		rc = printvt(format,ap);
		va_end(ap);

		return rc;
	}
};

#endif
```

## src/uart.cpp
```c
#include "main_modules.hpp"
#include <zephyr/device.h>
#include <zephyr/modbus/modbus.h>

K_KERNEL_STACK_DEFINE(tlay2_stack,1000);


void process_packet(Tlay2<128>* obj, uint8_t*data,size_t len);

Tlay2<128> tlay2 = {DEVICE_DT_GET(DT_NODELABEL(uart0)),tlay2_stack,K_THREAD_STACK_SIZEOF(tlay2_stack),process_packet};

void process_packet(Tlay2<128>* obj, uint8_t*data,size_t len)
{
	switch(data[1])
	{
	case 0: //PING
		obj->tx_init_reply();
		for(size_t i=2;i<len;i++)
			obj->tx_byte(data[i]);
		obj->tx_end();
		break;
	case 1: // set power
	{
		atomic_set(&onoff,!!data[2]);
		obj->tx_init_reply();
		obj->tx_end();
		break;
	}
	case 2: // display
	{
		uint16_t offset = obj->rx_u16(&data[2]);
		{
			uint8_t *buffptr = &display.buff[offset];
			memcpy(buffptr,&data[4],len-4);
		}
		obj->tx_init_reply();
		obj->tx_end();
		break;
	}
	case 3: // read status
	{
		k_mutex_lock(&reg_data.mut, K_FOREVER);
		Reg_data::Data cached = reg_data.d;
		k_mutex_unlock(&reg_data.mut);
		obj->tx_init_reply();
		obj->tx_u16(cached.b_soc);
		obj->tx_u16(cached.b_v);
		obj->tx_u16(cached.b_a);
		obj->tx_u16(cached.l_v);
		obj->tx_u16(cached.l_a);
		obj->tx_u16(cached.s_v);
		obj->tx_u16(cached.s_a);
		obj->tx_byte(cached.on);
		obj->tx_end();
		break;
	}
	default:
		break;
	}
}
```

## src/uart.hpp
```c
#ifndef TLAY2_UART_H
#define TLAY2_UART_H

#include <stdint.h>

#include "fifo.hpp"
#include <zephyr/drivers/uart.h>
#include <zephyr/zephyr.h>

template<int RX_SIZE,int TX_SIZE>
class UART
{
private:
	const struct device *dev;
	typedef bool (*rx_callback_t)(void* obj, uint8_t *byte);

	rx_callback_t rx_callback;
	void* rx_callback_obj;
	FIFO<RX_SIZE> fifo_rx;
	FIFO<TX_SIZE> fifo_tx;
private:
	struct k_sem tx_sem_wait;
	static void isr_c(const struct device *dev,
						      void *user_data)
	{
		UART<RX_SIZE,TX_SIZE> *obj=static_cast<UART<RX_SIZE,TX_SIZE>*>(user_data);
		obj->isr();
	}
	void isr()
	{
		if (!uart_irq_update(dev))
			return;

		while(uart_irq_rx_ready(dev))
		{
			uint8_t recvData;
			if(uart_fifo_read(dev, &recvData, 1)!=1)
				break;
			if(rx_callback)
			{
				if(rx_callback(rx_callback_obj,&recvData))
					fifo_rx.put(recvData);
			}
			else
			{
				fifo_rx.put(recvData);
			}
		}
		while(uart_irq_tx_ready(dev))
		{
			uint8_t val;
			intptr_t cnt = fifo_tx.get(&val);
			if(cnt)
			{
				uart_fifo_fill(dev, &val, 1);
				k_sem_give(&tx_sem_wait);
			}
			else
			{
				uart_irq_tx_disable(dev);
			}
		}
	}
public:
	UART(
			const struct device *_dev,
			rx_callback_t _rx_callback=NULL,
			void* _rx_callback_obj=NULL)
	:dev(_dev),
	 rx_callback(_rx_callback),
	 rx_callback_obj(_rx_callback_obj)
	{
		k_sem_init(&tx_sem_wait, 0, 1);
	};
	bool Init()
	{
		if (!device_is_ready(dev)) {
			printk("Device %s not ready\n", dev->name);
			return false;
		}
		uart_irq_callback_user_data_set(dev,isr_c,this);
		uart_irq_rx_enable(dev);
		return true;
	}
	intptr_t get(uint8_t *byte)
	{
		return fifo_rx.get(byte);
	}
	intptr_t send(uint8_t byte)
	{
		intptr_t ret;
		do {
			ret = fifo_tx.put(byte);
			uart_irq_tx_enable(dev);
			if(!ret)
			{
				k_sem_take(&tx_sem_wait,K_FOREVER);
			}
		} while(!ret);
		return ret;
	}
};

#endif
```
